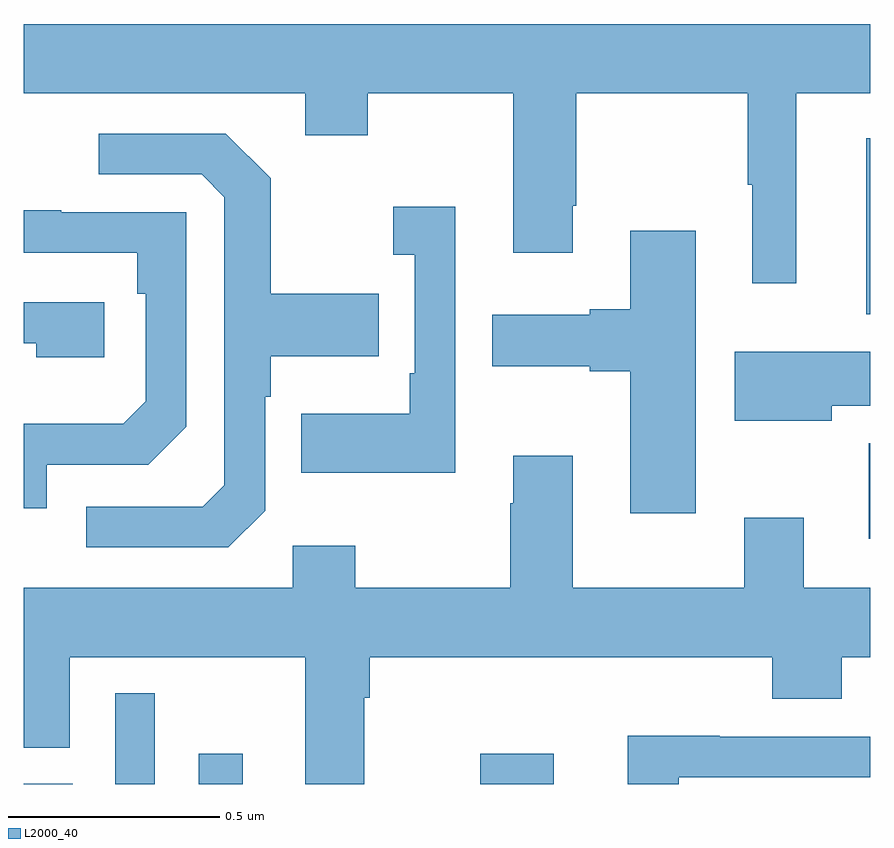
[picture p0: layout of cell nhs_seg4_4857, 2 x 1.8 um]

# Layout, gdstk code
import gdstk
lib = gdstk.Library(unit=1e-6, precision=1e-09)
def R(c, l, rs):  # rectangles x0, y0, x1, y1
    for r in rs: c.add(gdstk.rectangle(r[:2], r[2:], *l))
def P(c, l, *ps):  # polygons
    for p in ps: c.add(gdstk.Polygon(p, *l))
L2000_40 = (2000, 40)

nhs_seg4_4857 = lib.new_cell('nhs_seg4_4857')
R(nhs_seg4_4857, L2000_40, [(171,749.9,171.116,749.901), (171.216,749.9,171.309,750.115), (171.413,749.9,171.517,749.971), (172.079,749.9,172.252,749.971), (172.997,750.48,173,750.705), (172.991,751.01,173,751.426)])
P(nhs_seg4_4857, L2000_40, [(172.825,751.532),(173,751.532),(173,751.696),(171,751.696),(171,751.532),(171.665,751.532),(171.665,751.433),(171.813,751.433),(171.813,751.532),(172.157,751.532),(172.157,751.155),(172.297,751.155),(172.297,751.267),(172.305,751.267),(172.305,751.532),(172.711,751.532),(172.711,751.316),(172.721,751.316),(172.721,751.083),(172.825,751.083)],
  [(171.57,750.546),(171.57,750.815),(171.583,750.815),(171.583,750.911),(171.839,750.911),(171.839,751.059),(171.583,751.059),(171.583,751.331),(171.477,751.437),(171.177,751.437),(171.177,751.341),(171.42,751.341),(171.474,751.287),(171.474,750.606),(171.423,750.555),(171.147,750.555),(171.147,750.459),(171.483,750.459)],
  [(172.02,751.264),(171.873,751.264),(171.873,751.151),(171.924,751.151),(171.924,750.871),(171.912,750.871),(171.912,750.775),(171.655,750.775),(171.655,750.635),(172.02,750.635)],
  [(171.054,750.654),(171.294,750.654),(171.384,750.744),(171.384,751.251),(171.089,751.251),(171.089,751.256),(171,751.256),(171,751.155),(171.268,751.155),(171.268,751.058),(171.288,751.058),(171.288,750.804),(171.235,750.751),(171,750.751),(171,750.552),(171.054,750.552)],
  [(172.588,751.207),(172.433,751.207),(172.433,751.022),(172.337,751.022),(172.337,751.009),(172.107,751.009),(172.107,750.887),(172.337,750.887),(172.337,750.875),(172.433,750.875),(172.433,750.54),(172.588,750.54)],
  [(171.19,751.038),(171,751.038),(171,750.942),(171.029,750.942),(171.029,750.908),(171.19,750.908)],
  [(172.909,750.794),(173,750.794),(173,750.922),(172.68,750.922),(172.68,750.758),(172.909,750.758)],
  [(172.769,750.101),(172.933,750.101),(172.933,750.2),(173,750.2),(173,750.364),(172.843,750.364),(172.843,750.529),(172.703,750.529),(172.703,750.364),(172.297,750.364),(172.297,750.676),(172.157,750.676),(172.157,750.563),(172.15,750.563),(172.15,750.364),(171.783,750.364),(171.783,750.463),(171.636,750.463),(171.636,750.364),(171,750.364),(171,749.986),(171.108,749.986),(171.108,750.2),(171.665,750.2),(171.665,749.9),(171.805,749.9),(171.805,750.104),(171.818,750.104),(171.818,750.2),(172.769,750.2)],
  [(172.548,749.916),(173,749.916),(173,750.012),(172.645,750.012),(172.645,750.014),(172.427,750.014),(172.427,749.9),(172.548,749.9)])

lib.write_gds('nhs_seg4_4857.gds')
